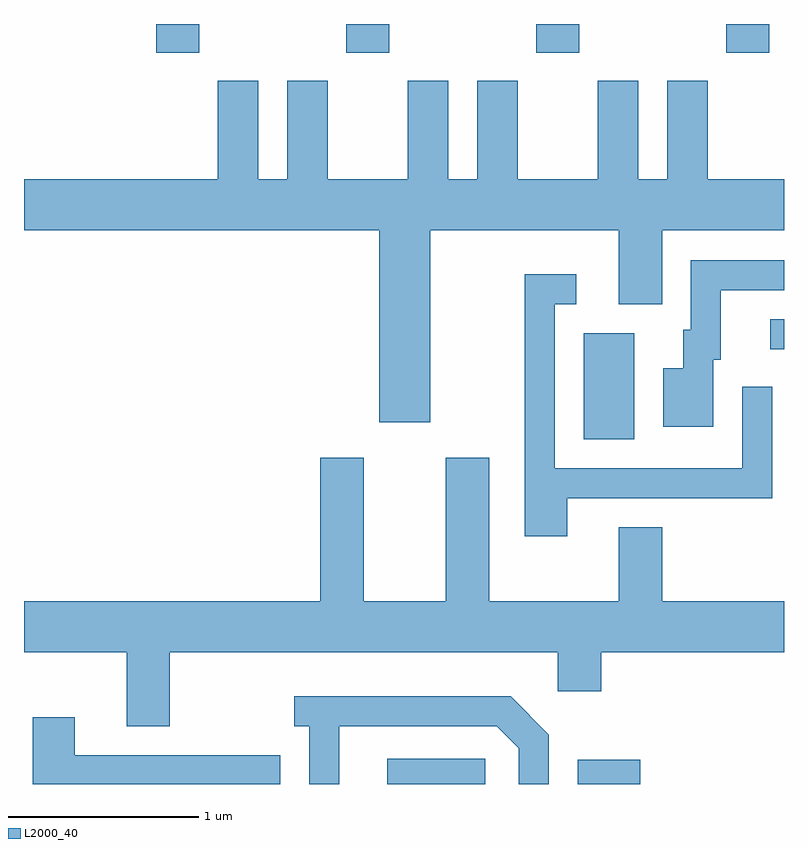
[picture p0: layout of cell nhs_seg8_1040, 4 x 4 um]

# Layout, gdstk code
import gdstk
lib = gdstk.Library(unit=1e-6, precision=1e-09)
def R(c, l, rs):  # rectangles x0, y0, x1, y1
    for r in rs: c.add(gdstk.rectangle(r[:2], r[2:], *l))
def A(c, l, x, y, w, h, nx, ny, dx, dy):  # array of equal rectangles
    R(c, l, [(x+i*dx, y+j*dy, x+i*dx+w, y+j*dy+h) for i in range(nx) for j in range(ny)])
def P(c, l, *ps):  # polygons
    for p in ps: c.add(gdstk.Polygon(p, *l))
L2000_40 = (2000, 40)

nhs_seg8_1040 = lib.new_cell('nhs_seg8_1040')
A(nhs_seg8_1040, L2000_40, 216.306, 1886.191, 0.228, 0.151, 4, 1, 1, 0)
R(nhs_seg8_1040, L2000_40, [(217.523,1882.342,218.039,1882.474), (218.526,1882.342,218.854,1882.469), (218.556,1884.156,218.824,1884.714), (219.538,1884.631,219.611,1884.789)])
P(nhs_seg8_1040, L2000_40, [(217.749,1885.256),(218.741,1885.256),(218.741,1884.866),(218.969,1884.866),(218.969,1885.256),(219.611,1885.256),(219.611,1885.524),(219.209,1885.524),(219.209,1886.044),(218.996,1886.044),(218.996,1885.524),(218.844,1885.524),(218.844,1886.044),(218.631,1886.044),(218.631,1885.524),(218.209,1885.524),(218.209,1886.044),(217.996,1886.044),(217.996,1885.524),(217.844,1885.524),(217.844,1886.044),(217.631,1886.044),(217.631,1885.524),(217.209,1885.524),(217.209,1886.044),(216.996,1886.044),(216.996,1885.524),(216.844,1885.524),(216.844,1886.044),(216.631,1886.044),(216.631,1885.524),(215.611,1885.524),(215.611,1885.256),(217.481,1885.256),(217.481,1884.246),(217.749,1884.246)],
  [(219.239,1884.576),(219.279,1884.576),(219.279,1884.941),(219.611,1884.941),(219.611,1885.099),(219.121,1885.099),(219.121,1884.734),(219.081,1884.734),(219.081,1884.529),(218.976,1884.529),(218.976,1884.221),(219.239,1884.221)],
  [(218.469,1883.846),(219.549,1883.846),(219.549,1884.433),(219.391,1884.433),(219.391,1884.004),(218.404,1884.004),(218.404,1884.866),(218.518,1884.866),(218.518,1885.024),(218.246,1885.024),(218.246,1883.646),(218.469,1883.646)],
  [(216.379,1883.036),(218.421,1883.036),(218.421,1882.831),(218.649,1882.831),(218.649,1883.036),(219.611,1883.036),(219.611,1883.304),(218.969,1883.304),(218.969,1883.694),(218.741,1883.694),(218.741,1883.304),(218.059,1883.304),(218.059,1884.059),(217.831,1884.059),(217.831,1883.304),(217.399,1883.304),(217.399,1884.059),(217.171,1884.059),(217.171,1883.304),(215.611,1883.304),(215.611,1883.036),(216.151,1883.036),(216.151,1882.646),(216.379,1882.646)],
  [(217.269,1882.646),(218.099,1882.646),(218.216,1882.529),(218.216,1882.342),(218.374,1882.342),(218.374,1882.602),(218.172,1882.804),(217.033,1882.804),(217.033,1882.646),(217.111,1882.646),(217.111,1882.342),(217.269,1882.342)],
  [(216.959,1882.494),(215.879,1882.494),(215.879,1882.694),(215.656,1882.694),(215.656,1882.342),(216.959,1882.342)])

lib.write_gds('nhs_seg8_1040.gds')
